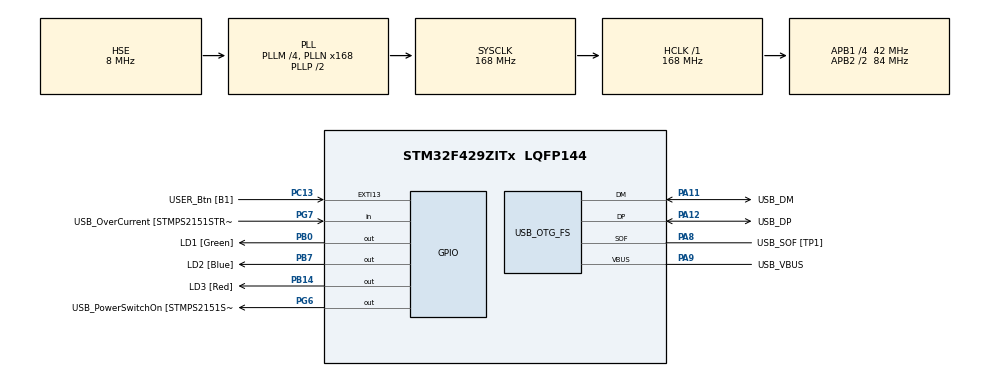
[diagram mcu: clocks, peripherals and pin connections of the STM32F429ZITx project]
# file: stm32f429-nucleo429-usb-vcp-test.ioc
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Mcu.Family=STM32F4
Mcu.Name=STM32F429ZITx
Mcu.Package=LQFP144
NVIC.OTG_FS_IRQn=true\:0\:0\:false\:false\:true\:false\:true\:true
NVIC.PriorityGroup=NVIC_PRIORITYGROUP_4
PA1.GPIO_Label=RMII_REF_CLK [LAN8742A-CZ-TR_REFCLK0]
PA1.Signal=ETH_REF_CLK
PA10.GPIO_Label=USB_ID
PA10.Signal=USB_OTG_FS_ID
PA11.GPIO_Label=USB_DM
PA11.Mode=Device_Only
PA11.Signal=USB_OTG_FS_DM
PA12.GPIO_Label=USB_DP
PA12.Mode=Device_Only
PA12.Signal=USB_OTG_FS_DP
PA13.GPIO_Label=TMS
PA13.Mode=Serial_Wire
PA13.Signal=SYS_JTMS-SWDIO
PA14.GPIO_Label=TCK
PA14.Mode=Serial_Wire
PA14.Signal=SYS_JTCK-SWCLK
PA2.GPIO_Label=RMII_MDIO [LAN8742A-CZ-TR_MDIO]
PA2.Signal=ETH_MDIO
PA7.GPIO_Label=RMII_CRS_DV [LAN8742A-CZ-TR_CRS_DV]
PA7.Signal=ETH_CRS_DV
PA8.GPIO_Label=USB_SOF [TP1]
PA8.Mode=Activate_SOF_FS
PA8.Signal=USB_OTG_FS_SOF
PA9.GPIO_Label=USB_VBUS
PA9.Mode=Activate_VBUS
PA9.Signal=USB_OTG_FS_VBUS
PB0.GPIO_Label=LD1 [Green]
PB0.Signal=GPIO_Output
PB13.GPIO_Label=RMII_TXD1 [LAN8742A-CZ-TR_TXD1]
PB13.Signal=ETH_TXD1
PB14.GPIO_Label=LD3 [Red]
PB14.Signal=GPIO_Output
PB7.GPIO_Label=LD2 [Blue]
PB7.Signal=GPIO_Output
PC1.GPIO_Label=RMII_MDC [LAN8742A-CZ-TR_MDC]
PC1.Signal=ETH_MDC
PC13.GPIO_Label=USER_Btn [B1]
PC13.Signal=GPXTI13
PC14/OSC32_IN.Mode=LSE-External-Oscillator
PC14/OSC32_IN.Signal=RCC_OSC32_IN
PC15/OSC32_OUT.Mode=LSE-External-Oscillator
PC15/OSC32_OUT.Signal=RCC_OSC32_OUT
PC4.GPIO_Label=RMII_RXD0 [LAN8742A-CZ-TR_RXD0]
PC4.Signal=ETH_RXD0
PC5.GPIO_Label=RMII_RXD1 [LAN8742A-CZ-TR_RXD1]
PC5.Signal=ETH_RXD1
PD8.GPIO_Label=STLK_RX [STM32F103CBT6_PA3]
PD8.Signal=USART3_TX
PD9.GPIO_Label=STLK_TX [STM32F103CBT6_PA2]
PD9.Signal=USART3_RX
PG11.GPIO_Label=RMII_TX_EN [LAN8742A-CZ-TR_TXEN]
PG11.Signal=ETH_TX_EN
PG13.GPIO_Label=RMII_TXD0 [LAN8742A-CZ-TR_TXD0]
PG13.Signal=ETH_TXD0
PG6.GPIO_Label=USB_PowerSwitchOn [STMPS2151STR_EN]
PG6.Signal=GPIO_Output
PG7.GPIO_Label=USB_OverCurrent [STMPS2151STR_FAULT]
PG7.Signal=GPIO_Input
PH0/OSC_IN.GPIO_Label=MCO [STM32F103CBT6_PA8]
PH0/OSC_IN.Mode=HSE-External-Clock-Source
PH0/OSC_IN.Signal=RCC_OSC_IN
PH1/OSC_OUT.Mode=HSE-External-Clock-Source
PH1/OSC_OUT.Signal=RCC_OSC_OUT
ProjectManager.HeapSize=0x200
ProjectManager.StackSize=0x400
ProjectManager.TargetToolchain=STM32CubeIDE
RCC.48MHZClocksFreq_Value=48000000
RCC.AHBFreq_Value=168000000
RCC.APB1CLKDivider=RCC_HCLK_DIV4
RCC.APB1Freq_Value=42000000
RCC.APB1TimFreq_Value=84000000
RCC.APB2CLKDivider=RCC_HCLK_DIV2
RCC.APB2Freq_Value=84000000
RCC.APB2TimCLKDivider=2
RCC.APB2TimFreq_Value=168000000
RCC.CortexFreq_Value=168000000
RCC.HCLKFreq_Value=168000000
RCC.HSE_VALUE=8000000
RCC.HSI_VALUE=16000000
RCC.PLLM=4
RCC.PLLMUL=RCC_PLL_MUL9
RCC.PLLN=168
RCC.PLLQ=7
RCC.PRESCALERUSB=RCC_USBCLKSOURCE_PLL_DIV1_5
RCC.SYSCLKFreq_VALUE=168000000
RCC.SYSCLKSource=RCC_SYSCLKSOURCE_PLLCLK
RCC.SYSCLKSourceVirtual=RCC_SYSCLKSOURCE_PLLCLK
RCC.USBFreq_Value=48000000
RCC.VCOOutputFreq_Value=336000000
USB_DEVICE.CLASS_NAME_FS=CDC
USB_DEVICE.VirtualMode-CDC_FS=Cdc
USB_DEVICE.VirtualModeFS=Cdc_FS
USB_OTG_FS.VirtualMode=Device_Only
VP_USB_DEVICE_VS_USB_DEVICE_CDC_FS.Mode=CDC_FS
board=NUCLEO-F429ZI

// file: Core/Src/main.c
/* USER CODE BEGIN Header */
/**
  ******************************************************************************
  * @file           : main.c
  * @brief          : Main program body
  ******************************************************************************
  * @attention
  *
  * Copyright (c) 2024 STMicroelectronics.
  * All rights reserved.
  *
  * This software is licensed under terms that can be found in the LICENSE file
  * in the root directory of this software component.
  * If no LICENSE file comes with this software, it is provided AS-IS.
  *
  ******************************************************************************
  */
/* USER CODE END Header */
#include "main.h"
#include "usb_device.h"
#include "gpio.h"

/* USER CODE BEGIN Includes */
#include "usbd_cdc_if.h"
#include "electricui.h"
/* USER CODE END Includes */

void SystemClock_Config(void);
/* USER CODE BEGIN PFP */
void write_with_vcp( uint8_t *data, uint16_t length );
/* USER CODE END PFP */

/* USER CODE BEGIN 0 */

uint8_t   blink_enable = 1; // if the blinker should be running
uint8_t   led_state  = 0;   // track if the LED is illuminated
uint16_t  glow_time  = 200; // in milliseconds
char nickname[] = "STM32 USB VCP";

uint32_t  led_timer  = 0;   // track when the light turned on or off

eui_interface_t vcp_comms = EUI_INTERFACE( &write_with_vcp );

eui_message_t tracked_variables[] =
{
		EUI_UINT8(  "led_blink",  blink_enable ),
		EUI_UINT8(  "led_state",  led_state ),
		EUI_UINT16( "lit_time",   glow_time ),
		EUI_CHAR_ARRAY_RO( "name", nickname ),
};

/* USER CODE END 0 */

int main(void)
{

  /* MCU Configuration--------------------------------------------------------*/

  /* Reset of all peripherals, Initializes the Flash interface and the Systick. */
  HAL_Init();

  /* Configure the system clock */
  SystemClock_Config();

  /* Initialize all configured peripherals */
  MX_GPIO_Init();
  MX_USB_DEVICE_Init();
  /* USER CODE BEGIN 2 */

  eui_setup_interface( &vcp_comms );
  EUI_TRACK( tracked_variables );
  eui_setup_identifier( "stm32", 5 );

  /* USER CODE END 2 */

  /* Infinite loop */
  while (1)
  {
	while( usb_rx_data_available() )
	{
		eui_parse( usb_rx_get(), &vcp_comms );
	}

	if( blink_enable )
	{
		// Check if the LED has been on for the configured duration
		if( HAL_GetTick() - led_timer >= glow_time )
		{
			led_state = !led_state; //invert led state
			led_timer = HAL_GetTick();
		}
	}

	HAL_GPIO_WritePin(LD1_GPIO_Port, LD1_Pin, led_state);

  }
}

void SystemClock_Config(void)
{
  RCC_OscInitTypeDef RCC_OscInitStruct = {0};
  RCC_ClkInitTypeDef RCC_ClkInitStruct = {0};

  /** Configure the main internal regulator output voltage
  */
  __HAL_RCC_PWR_CLK_ENABLE();
  __HAL_PWR_VOLTAGESCALING_CONFIG(PWR_REGULATOR_VOLTAGE_SCALE1);

  /** Initializes the RCC Oscillators according to the specified parameters
  * in the RCC_OscInitTypeDef structure.
  */
  RCC_OscInitStruct.OscillatorType = RCC_OSCILLATORTYPE_HSE;
  RCC_OscInitStruct.HSEState = RCC_HSE_BYPASS;
  RCC_OscInitStruct.PLL.PLLState = RCC_PLL_ON;
  RCC_OscInitStruct.PLL.PLLSource = RCC_PLLSOURCE_HSE;
  RCC_OscInitStruct.PLL.PLLM = 4;
  RCC_OscInitStruct.PLL.PLLN = 168;
  RCC_OscInitStruct.PLL.PLLP = RCC_PLLP_DIV2;
  RCC_OscInitStruct.PLL.PLLQ = 7;
  if (HAL_RCC_OscConfig(&RCC_OscInitStruct) != HAL_OK)
  {
    Error_Handler();
  }

  /** Initializes the CPU, AHB and APB buses clocks
  */
  RCC_ClkInitStruct.ClockType = RCC_CLOCKTYPE_HCLK|RCC_CLOCKTYPE_SYSCLK
                              |RCC_CLOCKTYPE_PCLK1|RCC_CLOCKTYPE_PCLK2;
  RCC_ClkInitStruct.SYSCLKSource = RCC_SYSCLKSOURCE_PLLCLK;
  RCC_ClkInitStruct.AHBCLKDivider = RCC_SYSCLK_DIV1;
  RCC_ClkInitStruct.APB1CLKDivider = RCC_HCLK_DIV4;
  RCC_ClkInitStruct.APB2CLKDivider = RCC_HCLK_DIV2;

  if (HAL_RCC_ClockConfig(&RCC_ClkInitStruct, FLASH_LATENCY_5) != HAL_OK)
  {
    Error_Handler();
  }
}

/* USER CODE BEGIN 4 */
void write_with_vcp( uint8_t *data, uint16_t length )
{
	// Send to the USB TX FIFO
	usb_tx_write(data, length);
}

/* USER CODE END 4 */

void Error_Handler(void)
{
  __disable_irq();
  while (1)
  {
  }
}
